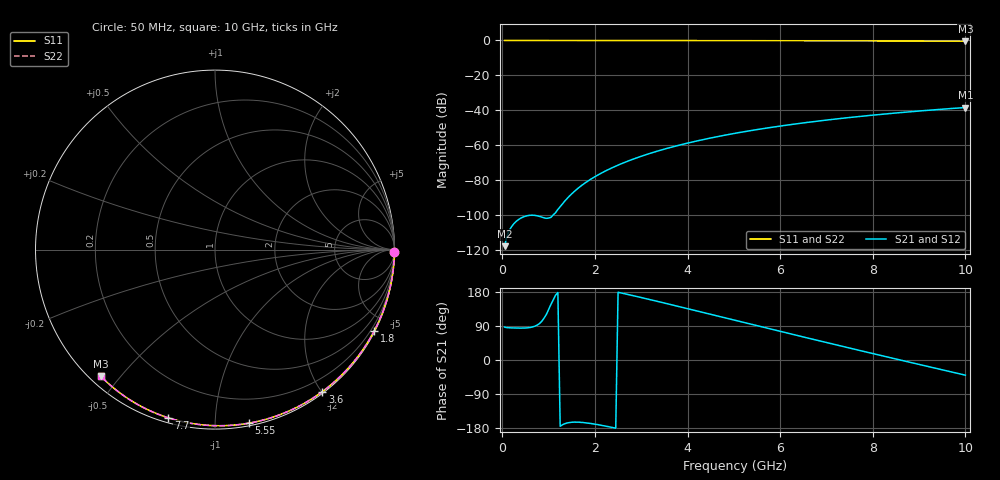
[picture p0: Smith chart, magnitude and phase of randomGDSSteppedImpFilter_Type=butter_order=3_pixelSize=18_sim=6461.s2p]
! freq	dB(S11)	phase(S11)	dB(S12)	phase(S12)
!  dB(S21)	phase(S21)	dB(S22)	phase(S22)
!S-par simulation data
#  GHz  S  DB  R 50
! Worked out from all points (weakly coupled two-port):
!   200 points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, 50 MHz to 10 GHz, reference 50 ohm
!   highest |S21| = -38.39 dB at 10 GHz (marker M1); lowest = -117.8 dB at 50 MHz (marker M2)
!   lowest |S11| = -0.4 dB at 10 GHz (marker M3), VSWR 38.95, Z = 1.54 - j22.2 ohm
!   |S11| at or under -10 dB: nowhere
!   |S22| runs from -0.4 to 0.0 dB; largest |S21 - S12| = 0
!   S11 on the Smith chart (normalised r, x): 50 MHz: open; 1.8 GHz: 0.04, -4.16; 3.6 GHz: 0.02, -2.01; 5.55 GHz: 0.02, -1.21; 7.7 GHz: 0.02, -0.76; 10 GHz: 0.03, -0.44
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0.05  -0.00 -0.8  -117.75 86.8  -117.75 86.8  -0.00 -0.8
0.9  -0.02 -13.6  -101.53 110.2  -101.53 110.2  -0.02 -13.7
1.75  -0.03 -26.3  -82.29 -165.1  -82.29 -165.1  -0.03 -26.3
1.8  -0.03 -27.0  -81.34 -165.7  -81.34 -165.7  -0.03 -27.1
1.85  -0.04 -27.8  -80.45 -166.5  -80.45 -166.5  -0.04 -27.8
1.9  -0.04 -28.5  -79.59 -167.3  -79.59 -167.3  -0.04 -28.5
2.05  -0.04 -30.7  -77.21 -170.3  -77.21 -170.3  -0.04 -30.7
2.25  -0.04 -33.6  -74.41 -174.9  -74.41 -174.9  -0.04 -33.7
2.45  -0.05 -36.5  -71.93 -180.0  -71.93 -180.0  -0.05 -36.6
2.65  -0.05 -39.4  -69.70 174.7  -69.70 174.7  -0.05 -39.4
3  -0.06 -44.4  -66.29 164.9  -66.29 164.9  -0.06 -44.5
3.4  -0.07 -50.1  -62.95 153.3  -62.95 153.3  -0.07 -50.1
3.6  -0.07 -52.9  -61.46 147.4  -61.46 147.4  -0.07 -52.9
4.3  -0.09 -62.5  -56.95 126.5  -56.95 126.5  -0.09 -62.5
5.05  -0.11 -72.5  -53.03 104.0  -53.03 104.0  -0.11 -72.5
5.55  -0.13 -79.0  -50.80 89.1  -50.80 89.1  -0.13 -79.0
6.1  -0.15 -86.0  -48.62 72.7  -48.62 72.7  -0.15 -86.0
6.7  -0.18 -93.4  -46.53 54.9  -46.53 54.9  -0.18 -93.4
7.7  -0.24 -105.5  -43.54 25.7  -43.54 25.7  -0.24 -105.5
8.35  -0.29 -113.1  -41.88 6.9  -41.88 6.9  -0.29 -113.1
9.15  -0.36 -122.3  -40.06 -16.0  -40.06 -16.0  -0.36 -122.3
10  -0.45 -132.0  -38.39 -40.0  -38.39 -40.0  -0.45 -131.9
